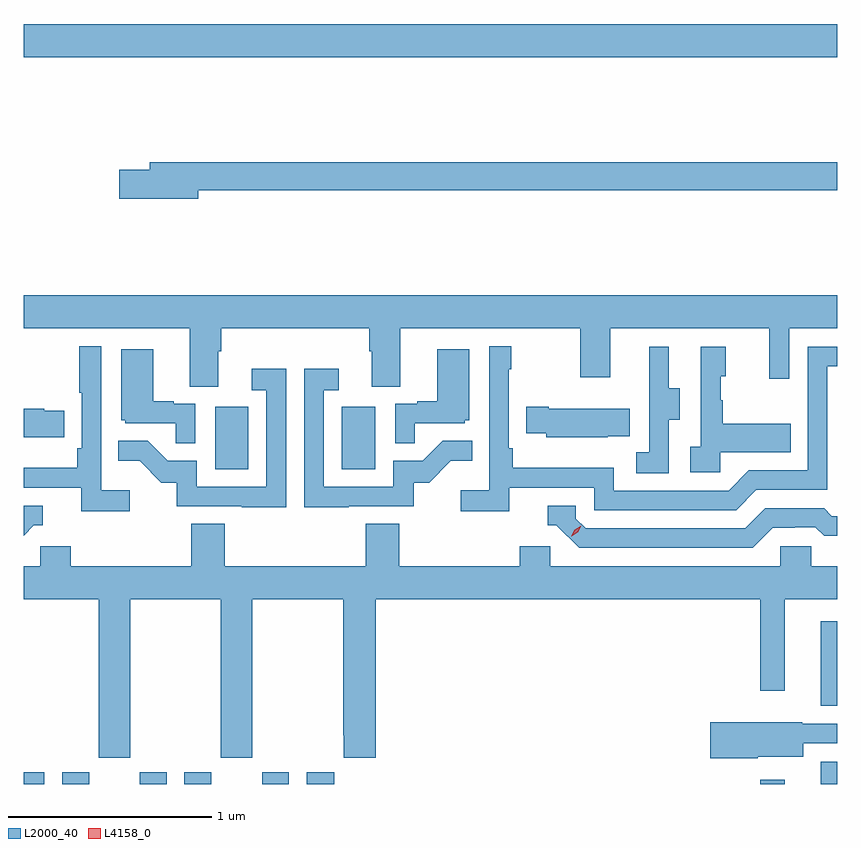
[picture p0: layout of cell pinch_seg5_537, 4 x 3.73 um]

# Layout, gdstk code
import gdstk
lib = gdstk.Library(unit=1e-6, precision=1e-09)
def R(c, l, rs):  # rectangles x0, y0, x1, y1
    for r in rs: c.add(gdstk.rectangle(r[:2], r[2:], *l))
def P(c, l, *ps):  # polygons
    for p in ps: c.add(gdstk.Polygon(p, *l))
L2000_40 = (2000, 40)
L4158_0 = (4158, 0)

pinch_seg5_537 = lib.new_cell('pinch_seg5_537')
R(pinch_seg5_537, L2000_40, [(971.391,841.201,971.494,841.258), (971.582,841.201,971.713,841.258), (971.963,841.201,972.094,841.258), (972.182,841.201,972.313,841.258), (972.563,841.201,972.694,841.258), (972.782,841.201,972.919,841.258), (975.012,841.201,975.133,841.222), (975.308,841.201,975.391,841.311), (975.308,841.586,975.391,842.002), (972.332,842.748,972.496,843.055), (972.956,842.748,973.12,843.055), (971.391,844.772,975.391,844.936)])
P(pinch_seg5_537, L2000_40, [(972.25,844.12),(975.391,844.12),(975.391,844.256),(972.011,844.256),(972.011,844.22),(971.862,844.22),(971.862,844.078),(972.25,844.078)],
  [(972.349,843.328),(972.362,843.328),(972.362,843.44),(973.091,843.44),(973.091,843.328),(973.103,843.328),(973.103,843.154),(973.243,843.154),(973.243,843.44),(974.128,843.44),(974.128,843.201),(974.275,843.201),(974.275,843.44),(975.056,843.44),(975.056,843.192),(975.153,843.192),(975.153,843.44),(975.391,843.44),(975.391,843.604),(971.391,843.604),(971.391,843.44),(972.209,843.44),(972.209,843.154),(972.349,843.154)],
  [(971.914,842.644),(971.772,842.644),(971.772,843.352),(971.664,843.352),(971.664,843.124),(971.676,843.124),(971.676,842.851),(971.656,842.851),(971.656,842.755),(971.391,842.755),(971.391,842.658),(971.675,842.658),(971.675,842.542),(971.914,842.542)],
  [(973.778,842.658),(974.196,842.658),(974.196,842.547),(974.893,842.547),(974.992,842.646),(975.342,842.646),(975.342,843.255),(975.391,843.255),(975.391,843.351),(975.246,843.351),(975.246,842.742),(974.955,842.742),(974.856,842.643),(974.292,842.643),(974.292,842.755),(973.796,842.755),(973.796,842.851),(973.776,842.851),(973.776,843.239),(973.789,843.239),(973.789,843.352),(973.68,843.352),(973.68,842.644),(973.539,842.644),(973.539,842.542),(973.778,842.542)],
  [(974.814,842.831),(975.161,842.831),(975.161,842.971),(974.827,842.971),(974.827,843.086),(974.817,843.086),(974.817,843.204),(974.842,843.204),(974.842,843.349),(974.718,843.349),(974.718,842.858),(974.667,842.858),(974.667,842.733),(974.814,842.733)],
  [(974.562,842.992),(974.617,842.992),(974.617,843.147),(974.563,843.147),(974.563,843.349),(974.465,843.349),(974.465,843.135),(974.466,843.135),(974.466,842.831),(974.403,842.831),(974.403,842.728),(974.562,842.728)],
  [(972.234,843.069),(972.128,843.069),(972.128,843.082),(972.028,843.082),(972.028,843.337),(971.87,843.337),(971.87,842.988),(971.892,842.988),(971.892,842.973),(972.139,842.973),(972.139,842.875),(972.234,842.875)],
  [(973.313,842.973),(973.56,842.973),(973.56,842.988),(973.582,842.988),(973.582,843.337),(973.424,843.337),(973.424,843.082),(973.325,843.082),(973.325,843.069),(973.218,843.069),(973.218,842.875),(973.313,842.875)],
  [(972.681,843.241),(972.513,843.241),(972.513,843.135),(972.585,843.135),(972.585,842.661),(972.243,842.661),(972.243,842.79),(972.099,842.79),(972.001,842.888),(971.857,842.888),(971.857,842.789),(971.961,842.789),(972.068,842.682),(972.145,842.682),(972.145,842.565),(972.463,842.565),(972.463,842.56),(972.681,842.56)],
  [(972.989,842.565),(973.308,842.565),(973.308,842.682),(973.384,842.682),(973.491,842.789),(973.595,842.789),(973.595,842.888),(973.451,842.888),(973.353,842.79),(973.209,842.79),(973.209,842.661),(972.867,842.661),(972.867,843.135),(972.94,843.135),(972.94,843.241),(972.771,843.241),(972.771,842.56),(972.989,842.56)],
  [(974.261,842.909),(974.369,842.909),(974.369,843.046),(973.972,843.046),(973.972,843.054),(973.861,843.054),(973.861,842.924),(973.959,842.924),(973.959,842.906),(974.261,842.906)],
  [(971.591,843.036),(971.493,843.036),(971.493,843.046),(971.391,843.046),(971.391,842.906),(971.591,842.906)],
  [(975.073,842.46),(975.18,842.46),(975.18,842.463),(975.283,842.463),(975.325,842.421),(975.391,842.421),(975.391,842.517),(975.364,842.517),(975.325,842.556),(975.036,842.556),(974.937,842.457),(974.154,842.457),(974.106,842.505),(974.106,842.568),(973.967,842.568),(973.967,842.472),(974.01,842.472),(974.121,842.361),(974.974,842.361)],
  [(971.442,842.472),(971.485,842.472),(971.485,842.568),(971.391,842.568),(971.391,842.421)],
  [(971.916,842.108),(972.361,842.108),(972.361,841.329),(972.516,841.329),(972.516,842.108),(972.961,842.108),(972.961,841.441),(972.965,841.441),(972.965,841.329),(973.121,841.329),(973.121,842.108),(975.012,842.108),(975.012,841.659),(975.133,841.659),(975.133,842.108),(975.391,842.108),(975.391,842.272),(975.261,842.272),(975.261,842.37),(975.111,842.37),(975.111,842.272),(973.98,842.272),(973.98,842.37),(973.829,842.37),(973.829,842.272),(973.238,842.272),(973.238,842.48),(973.073,842.48),(973.073,842.272),(972.38,842.272),(972.38,842.48),(972.215,842.48),(972.215,842.272),(971.624,842.272),(971.624,842.37),(971.472,842.37),(971.472,842.272),(971.391,842.272),(971.391,842.108),(971.761,842.108),(971.761,841.329),(971.916,841.329)],
  [(975,841.334),(975.223,841.334),(975.223,841.401),(975.391,841.401),(975.391,841.497),(975.219,841.497),(975.219,841.505),(974.766,841.505),(974.766,841.327),(975,841.327)])
P(pinch_seg5_537, L4158_0, [(974.083,842.418),(974.083,842.419),(974.1,842.451),(974.131,842.47),(974.131,842.47),(974.131,842.47),(974.115,842.437),(974.084,842.418)])

lib.write_gds('pinch_seg5_537.gds')
